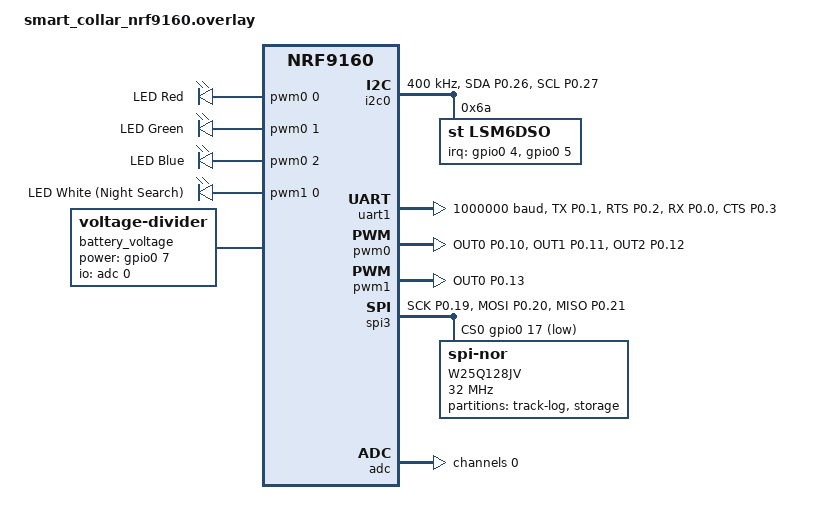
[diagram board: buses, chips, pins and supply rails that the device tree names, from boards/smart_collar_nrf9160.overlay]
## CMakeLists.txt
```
# Copyright (c) 2024 Smart Pet Collar Tracker
# SPDX-License-Identifier: Apache-2.0

cmake_minimum_required(VERSION 3.20.0)

find_package(Zephyr REQUIRED HINTS $ENV{ZEPHYR_BASE})
project(smart_collar_nrf9160)

# Common include directory (shared with nRF52840 firmware)
set(COMMON_DIR ${CMAKE_CURRENT_SOURCE_DIR}/../common)

target_include_directories(app PRIVATE
    ${COMMON_DIR}/include
    src
)

# Common sources
target_sources(app PRIVATE
    ${COMMON_DIR}/src/protocol.c
    ${COMMON_DIR}/src/pet_data.c
)

# Application sources
target_sources(app PRIVATE
    src/main.c
    src/gps/gps_controller.c
    src/gps/offline_track.c
    src/lte/lte_manager.c
    src/cloud/cloud_connector.c
    src/cloud/codec.c
    src/sensors/lsm6dso_driver.c
    src/sensors/activity_classifier.c
    src/geofence/geofence_engine.c
    src/power/power_manager.c
    src/led/led_controller.c
    src/uart_bridge/uart_bridge.c
)
```

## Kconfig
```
# Copyright (c) 2024 Smart Pet Collar Tracker
# SPDX-License-Identifier: Apache-2.0

mainmenu "Smart Pet Collar nRF9160 Configuration"

config SMART_COLLAR_GPS_ENABLE
	bool "Enable GPS/GNSS subsystem"
	default y
	help
	  Enable the nRF9160 modem GNSS interface for GPS fix acquisition
	  and A-GPS data injection.

config SMART_COLLAR_LTE_ENABLE
	bool "Enable LTE connectivity"
	default y
	help
	  Enable LTE-M / NB-IoT modem for cloud connectivity. Supports
	  LTE-M as primary RAT with NB-IoT fallback.

config SMART_COLLAR_CLOUD_ENABLE
	bool "Enable cloud connector (MQTT/TLS)"
	default y
	depends on SMART_COLLAR_LTE_ENABLE
	help
	  Enable MQTT over TLS1.3 connection to AWS IoT Core for telemetry
	  upload and command reception.

config SMART_COLLAR_GEOFENCE_ENABLE
	bool "Enable geofence engine"
	default y
	help
	  Enable the on-device geofence engine supporting circular and polygon
	  zones with NVS-backed persistence.

config SMART_COLLAR_LED_ENABLE
	bool "Enable LED controller"
	default y
	help
	  Enable PWM-based RGB and white LED control with pattern animations.

config SMART_COLLAR_POWER_MGMT
	bool "Enable power management state machine"
	default y
	help
	  Enable the power manager that coordinates GPS/LTE intervals, sensor
	  ODR, and deep-sleep transitions based on activity and battery state.

config SMART_COLLAR_LSM6DSO_ENABLE
	bool "Enable LSM6DSO IMU driver"
	default y
	help
	  Enable the custom I2C driver for the STMicroelectronics LSM6DSO
	  6-axis IMU, including wake-on-motion and activity interrupts.

config SMART_COLLAR_ACTIVITY_CLASSIFIER
	bool "Enable activity classifier"
	default y
	depends on SMART_COLLAR_LSM6DSO_ENABLE
	help
	  Enable the on-device decision-tree activity classifier that processes
	  accelerometer windows to detect rest, walk, run, play, and swim.

source "Kconfig.zephyr"
```

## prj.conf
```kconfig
# Copyright (c) 2024 Smart Pet Collar Tracker
# SPDX-License-Identifier: Apache-2.0
#
# nRF9160 Smart Pet Collar - Project Configuration

# ── Modem / LTE ────────────────────────────────────────────────────────────
CONFIG_NRF_MODEM_LIB=y
CONFIG_LTE_LINK_CONTROL=y
CONFIG_MODEM_INFO=y
CONFIG_MODEM_INFO_ADD_NETWORK=y
CONFIG_MODEM_INFO_ADD_SIM=y
CONFIG_PDN=y
CONFIG_PDN_DEFAULTS_OVERRIDE=n

# ── MQTT / Cloud ────────────────────────────────────────────────────────────
CONFIG_MQTT_LIB=y
CONFIG_MQTT_LIB_TLS=y
CONFIG_MQTT_KEEPALIVE=60

# ── Networking ──────────────────────────────────────────────────────────────
CONFIG_NETWORKING=y
CONFIG_NET_NATIVE=n
CONFIG_NET_OFFLOAD=y
CONFIG_NET_SOCKETS=y
CONFIG_NET_SOCKETS_OFFLOAD=y
CONFIG_NET_IPV4=y
CONFIG_NET_IPV6=n

# ── TLS / Security ──────────────────────────────────────────────────────────
CONFIG_NET_SOCKETS_SOCKOPT_TLS=y
CONFIG_TLS_CREDENTIALS=y
CONFIG_MBEDTLS=y
CONFIG_MBEDTLS_TLS_VERSION_1_3=y

# ── GNSS ────────────────────────────────────────────────────────────────────
CONFIG_NRF_MODEM_LIB=y

# ── I2C / SPI / GPIO / UART ─────────────────────────────────────────────────
CONFIG_I2C=y
CONFIG_SPI=y
CONFIG_GPIO=y
CONFIG_UART_ASYNC_API=y
CONFIG_UART_INTERRUPT_DRIVEN=y
CONFIG_SERIAL=y

# ── PWM / LED ────────────────────────────────────────────────────────────────
CONFIG_PWM=y
CONFIG_LED=y

# ── Flash ────────────────────────────────────────────────────────────────────
CONFIG_FLASH=y
CONFIG_FLASH_MAP=y
CONFIG_FLASH_PAGE_LAYOUT=y
CONFIG_STREAM_FLASH=y
CONFIG_NVS=y
CONFIG_NVS_LOG_LEVEL_WRN=y
CONFIG_MPU_ALLOW_FLASH_WRITE=y

# ── JSON ─────────────────────────────────────────────────────────────────────
CONFIG_JSON_LIBRARY=y

# ── Logging ──────────────────────────────────────────────────────────────────
CONFIG_LOG=y
CONFIG_LOG_DEFAULT_LEVEL=3
CONFIG_LOG_BUFFER_SIZE=4096
CONFIG_LOG_PRINTK=y
CONFIG_LOG_BACKEND_UART=y
CONFIG_LOG_MODE_DEFERRED=y

# ── Kernel / Threading ───────────────────────────────────────────────────────
CONFIG_MAIN_STACK_SIZE=4096
CONFIG_SYSTEM_WORKQUEUE_STACK_SIZE=2048
CONFIG_HEAP_MEM_POOL_SIZE=65536
CONFIG_CBPRINTF_FP_SUPPORT=y
CONFIG_FPU=y
CONFIG_FPU_SHARING=y

# ── C library ────────────────────────────────────────────────────────────────
CONFIG_NEWLIB_LIBC=y
CONFIG_NEWLIB_LIBC_FLOAT_PRINTF=y

# ── System ───────────────────────────────────────────────────────────────────
CONFIG_REBOOT=y
CONFIG_WATCHDOG=y
CONFIG_TASK_WDT=y
CONFIG_TASK_WDT_TIMEOUT_COEFFICIENT=2
CONFIG_RESET_ON_FATAL_ERROR=y
CONFIG_HW_ID_LIBRARY=y

# ── ADC ──────────────────────────────────────────────────────────────────────
CONFIG_ADC=y
CONFIG_ADC_ASYNC=y

# ── Application Kconfig options ──────────────────────────────────────────────
CONFIG_SMART_COLLAR_GPS_ENABLE=y
CONFIG_SMART_COLLAR_LTE_ENABLE=y
CONFIG_SMART_COLLAR_CLOUD_ENABLE=y
CONFIG_SMART_COLLAR_GEOFENCE_ENABLE=y
CONFIG_SMART_COLLAR_LED_ENABLE=y
CONFIG_SMART_COLLAR_POWER_MGMT=y
CONFIG_SMART_COLLAR_LSM6DSO_ENABLE=y
CONFIG_SMART_COLLAR_ACTIVITY_CLASSIFIER=y
```

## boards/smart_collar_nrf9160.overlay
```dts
/*
 * Copyright (c) 2024 Smart Pet Collar Tracker
 * SPDX-License-Identifier: Apache-2.0
 *
 * Device tree overlay for the Smart Pet Collar nRF9160 custom board.
 */

/ {
	chosen {
		zephyr,console = &uart0;
		zephyr,shell-uart = &uart0;
		zephyr,sram = &sram0;
		zephyr,flash = &flash0;
	};

	/* RGB + White LED nodes driven by PWM */
	leds {
		compatible = "pwm-leds";

		led_red: led_red {
			pwms = <&pwm0 0 PWM_MSEC(20) PWM_POLARITY_NORMAL>;
			label = "LED Red";
		};

		led_green: led_green {
			pwms = <&pwm0 1 PWM_MSEC(20) PWM_POLARITY_NORMAL>;
			label = "LED Green";
		};

		led_blue: led_blue {
			pwms = <&pwm0 2 PWM_MSEC(20) PWM_POLARITY_NORMAL>;
			label = "LED Blue";
		};

		led_white: led_white {
			pwms = <&pwm1 0 PWM_MSEC(20) PWM_POLARITY_NORMAL>;
			label = "LED White (Night Search)";
		};
	};

	/* Battery voltage divider on ADC */
	battery_voltage: battery-voltage {
		compatible = "voltage-divider";
		io-channels = <&adc 0>;
		output-ohms = <1000000>;
		full-ohms = <2000000>;
		power-gpios = <&gpio0 7 GPIO_ACTIVE_HIGH>;
	};
};

/* ── I2C0: LSM6DSO IMU ──────────────────────────────────────────────────── */
&i2c0 {
	compatible = "nordic,nrf-twim";
	status = "okay";
	pinctrl-0 = <&i2c0_default>;
	pinctrl-names = "default";
	clock-frequency = <I2C_BITRATE_FAST>;

	lsm6dso: lsm6dso@6a {
		compatible = "st,lsm6dso";
		reg = <0x6a>;
		irq-gpios = <&gpio0 4 GPIO_ACTIVE_HIGH>,  /* INT1: wake-on-motion */
		            <&gpio0 5 GPIO_ACTIVE_HIGH>;   /* INT2: activity       */
		label = "LSM6DSO";
	};
};

/* ── UART1: Bridge to nRF52840 at 1 Mbps ───────────────────────────────── */
&uart1 {
	compatible = "nordic,nrf-uarte";
	status = "okay";
	pinctrl-0 = <&uart1_default>;
	pinctrl-names = "default";
	current-speed = <1000000>;
	hw-flow-control;
};

/* ── PWM0: RGB LED ──────────────────────────────────────────────────────── */
&pwm0 {
	status = "okay";
	pinctrl-0 = <&pwm0_default>;
	pinctrl-names = "default";
};

/* ── PWM1: White high-brightness LED ───────────────────────────────────── */
&pwm1 {
	status = "okay";
	pinctrl-0 = <&pwm1_default>;
	pinctrl-names = "default";
};

/* ── SPI3: W25Q128 NOR flash ────────────────────────────────────────────── */
&spi3 {
	compatible = "nordic,nrf-spim";
	status = "okay";
	pinctrl-0 = <&spi3_default>;
	pinctrl-names = "default";
	cs-gpios = <&gpio0 17 GPIO_ACTIVE_LOW>;

	w25q128: w25q128jv@0 {
		compatible = "jedec,spi-nor";
		reg = <0>;
		spi-max-frequency = <32000000>;
		size = <DT_SIZE_M(128)>;
		has-dpd;
		t-enter-dpd = <3000>;
		t-exit-dpd = <30000>;
		jedec-id = [ef 40 18];
		label = "W25Q128JV";

		partitions {
			compatible = "fixed-partitions";
			#address-cells = <1>;
			#size-cells = <1>;

			/* Offline GPS track log: 512 kB */
			track_partition: partition@0 {
				label = "track-log";
				reg = <0x00000000 DT_SIZE_K(512)>;
			};

			/* Reserved for future use / OTA staging */
			storage_partition: partition@80000 {
				label = "storage";
				reg = <0x00080000 0x00F80000>;
			};
		};
	};
};

/* ── ADC: battery measurement ───────────────────────────────────────────── */
&adc {
	status = "okay";
	#address-cells = <1>;
	#size-cells = <0>;

	channel@0 {
		reg = <0>;
		zephyr,gain = "ADC_GAIN_1_6";
		zephyr,reference = "ADC_REF_INTERNAL";
		zephyr,acquisition-time = <ADC_ACQ_TIME_DEFAULT>;
		zephyr,input-positive = <NRF_SAADC_AIN1>;
		zephyr,resolution = <12>;
		zephyr,oversampling = <8>;
	};
};

/* ── Pin control ────────────────────────────────────────────────────────── */
&pinctrl {
	i2c0_default: i2c0_default {
		group1 {
			psels = <NRF_PSEL(TWIM_SDA, 0, 26)>,
			        <NRF_PSEL(TWIM_SCL, 0, 27)>;
		};
	};

	uart1_default: uart1_default {
		group1 {
			psels = <NRF_PSEL(UART_TX,  0, 1)>,
			        <NRF_PSEL(UART_RTS, 0, 2)>;
		};
		group2 {
			psels = <NRF_PSEL(UART_RX,  0, 0)>,
			        <NRF_PSEL(UART_CTS, 0, 3)>;
			bias-pull-up;
		};
	};

	pwm0_default: pwm0_default {
		group1 {
			psels = <NRF_PSEL(PWM_OUT0, 0, 10)>,  /* Red   */
			        <NRF_PSEL(PWM_OUT1, 0, 11)>,  /* Green */
			        <NRF_PSEL(PWM_OUT2, 0, 12)>;  /* Blue  */
		};
	};

	pwm1_default: pwm1_default {
		group1 {
			psels = <NRF_PSEL(PWM_OUT0, 0, 13)>;  /* White */
		};
	};

	spi3_default: spi3_default {
		group1 {
			psels = <NRF_PSEL(SPIM_SCK,  0, 19)>,
			        <NRF_PSEL(SPIM_MOSI, 0, 20)>;
		};
		group2 {
			psels = <NRF_PSEL(SPIM_MISO, 0, 21)>;
			bias-pull-down;
		};
	};
};
```

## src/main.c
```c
/*
 * Copyright (c) 2024 Smart Pet Collar Tracker
 * SPDX-License-Identifier: Apache-2.0
 *
 * nRF9160 application main entry point.
 * Initialises all subsystems in dependency order, then runs the main
 * supervisory loop driven by a k_timer.
 */

#include <zephyr/kernel.h>
#include <zephyr/logging/log.h>
#include <zephyr/sys/reboot.h>
#include <zephyr/task_wdt/task_wdt.h>

#include "led/led_controller.h"
#include "uart_bridge/uart_bridge.h"
#include "sensors/lsm6dso_driver.h"
#include "sensors/activity_classifier.h"
#include "power/power_manager.h"
#include "lte/lte_manager.h"
#include "gps/gps_controller.h"
#include "gps/offline_track.h"
#include "cloud/cloud_connector.h"
#include "cloud/codec.h"
#include "geofence/geofence_engine.h"

LOG_MODULE_REGISTER(main, LOG_LEVEL_INF);

/* ── Supervisory loop period ─────────────────────────────────────────────── */
#define MAIN_LOOP_PERIOD_MS  1000

/* ── Task watchdog channel ───────────────────────────────────────────────── */
static int wdt_channel_id;

/* ── GPS fix callback – publishes telemetry via cloud connector ───────────── */
static void on_gps_fix(const struct pet_location *loc)
{
	char buf[MQTT_PAYLOAD_MAX_SIZE];
	int  len;
	int  rsrp, rsrq;
	struct activity_summary act_sum;
	battery_status_t bat;

	activity_get_summary(&act_sum);
	bat.percent    = power_get_battery_percent();
	bat.millivolts = power_get_battery_mv();
	bat.is_charging = false;

	lte_get_signal_quality(&rsrp, &rsrq);

	len = codec_encode_telemetry(buf, sizeof(buf), loc,
				     &act_sum, &bat, rsrp, rsrq);
	if (len < 0) {
		LOG_ERR("Telemetry encode failed: %d", len);
		return;
	}

	geofence_check_position((double)loc->latitude_udeg  / 1e6,
				(double)loc->longitude_udeg / 1e6);

	if (lte_is_connected()) {
		cloud_publish_telemetry(buf, (size_t)len);
	} else {
		/* Store for offline sync */
		flash_track_record_t rec = {
			.latitude_udeg  = loc->latitude_udeg,
			.longitude_udeg = loc->longitude_udeg,
			.altitude_m     = (int16_t)(loc->altitude_mm / 1000),
			.timestamp_s    = loc->timestamp_s,
			.speed_kmh      = (uint8_t)(loc->speed_mmps * 36 / 10000),
			.heading_deg_div2 = (uint8_t)(loc->heading_cdeg / 200),
			.flags          = TRACK_FLAG_GPS_VALID,
			.activity_type  = (uint8_t)act_sum.dominant_activity,
		};
		offline_track_store(&rec);
	}
}

/* ── Geofence alert callback ─────────────────────────────────────────────── */
static void on_geofence_alert(const geofence_alert_t *alert)
{
	char buf[512];
	int  len;

	LOG_WRN("Geofence %s: fence_id=%u",
		alert->breach_type == BREACH_EXIT ? "EXIT" : "ENTER",
		alert->fence_id);

	len = codec_encode_alert(buf, sizeof(buf), ALERT_TYPE_GEOFENCE, alert);
	if (len < 0) {
		LOG_ERR("Alert encode failed: %d", len);
		return;
	}

	if (lte_is_connected()) {
		cloud_publish_alert(buf, (size_t)len);
	}

	led_set_pattern(LED_BLINK);
}

/* ── Cloud command callback ──────────────────────────────────────────────── */
static void on_cloud_command(const char *topic, const char *payload, size_t len)
{
	struct collar_command cmd;
	int ret;

	ret = codec_decode_command(payload, len, &cmd);
	if (ret < 0) {
		LOG_ERR("Command decode failed: %d", ret);
		return;
	}

	LOG_INF("Cloud command received: type=%d", cmd.type);

	switch (cmd.type) {
	case CMD_TYPE_SET_POWER_MODE:
		power_set_mode((power_mode_t)cmd.param.power_mode);
		break;
	case CMD_TYPE_FIND_PET:
		led_night_search_mode(true);
		uart_bridge_send(CMD_FIND_PET, NULL, 0);
		break;
	case CMD_TYPE_LED_PATTERN:
		led_set_pattern((led_pattern_t)cmd.param.led_pattern);
		break;
	case CMD_TYPE_ADD_GEOFENCE:
		geofence_add_circle(cmd.param.geofence.id,
				    cmd.param.geofence.lat,
				    cmd.param.geofence.lon,
				    cmd.param.geofence.radius_m);
		break;
	case CMD_TYPE_REMOVE_GEOFENCE:
		geofence_remove(cmd.param.geofence.id);
		break;
	case CMD_TYPE_SYNC_OFFLINE:
		/* Trigger offline track upload */
		while (offline_track_has_data()) {
			flash_track_record_t rec;
			if (offline_track_read_next(&rec) == 0) {
				/* Pack as mini JSON and publish */
				char tbuf[256];
				int tlen = snprintf(tbuf, sizeof(tbuf),
					"{\"ts\":%u,\"lat\":%d,\"lon\":%d,"
					"\"spd\":%u,\"act\":%u,\"offline\":true}",
					rec.timestamp_s,
					rec.latitude_udeg,
					rec.longitude_udeg,
					(unsigned)rec.speed_kmh,
					(unsigned)rec.activity_type);
				if (tlen > 0) {
					cloud_publish_telemetry(tbuf, (size_t)tlen);
				}
			}
		}
		break;
	default:
		LOG_WRN("Unknown command type: %d", cmd.type);
		break;
	}
}

/* ── LTE event callback ──────────────────────────────────────────────────── */
static void on_lte_event(enum lte_event event)
{
	switch (event) {
	case LTE_EVENT_CONNECTED:
		LOG_INF("LTE connected – connecting to cloud");
		cloud_connector_connect();
		cloud_subscribe_commands();
		break;
	case LTE_EVENT_DISCONNECTED:
		LOG_WRN("LTE disconnected");
		cloud_connector_disconnect();
		break;
	case LTE_EVENT_PSM_UPDATE:
		LOG_DBG("LTE PSM parameters updated");
		break;
	case LTE_EVENT_EDRX_UPDATE:
		LOG_DBG("LTE eDRX parameters updated");
		break;
	default:
		break;
	}
}

/* ── Battery low callback ────────────────────────────────────────────────── */
static void on_battery_low(uint8_t percent)
{
	LOG_WRN("Battery low: %u%%", percent);
	if (percent <= BATTERY_CRITICAL_THRESHOLD_PCT) {
		LOG_ERR("Critical battery – entering deep sleep");
		power_set_mode(PWR_DEEP_SLEEP);
	} else if (percent <= BATTERY_LOW_THRESHOLD_PCT) {
		power_set_mode(PWR_LOW_POWER);
		led_set_pattern(LED_BLINK);
	}
}

/* ── UART bridge callbacks for incoming nRF52840 data ───────────────────── */
static void on_uart_activity_data(const uint8_t *payload, uint16_t len)
{
	pet_activity_data_t act;

	if (pet_activity_deserialise(&act, payload) != 0) {
		LOG_ERR("Activity deserialise failed");
		return;
	}
	LOG_DBG("Activity: type=%d steps=%u", act.activity_type, act.steps);
}

static void on_uart_health_data(const uint8_t *payload, uint16_t len)
{
	pet_health_data_t health;

	if (pet_health_deserialise(&health, payload) != 0) {
		LOG_ERR("Health deserialise failed");
		return;
	}
	LOG_DBG("Health: temp=%d bpm=%u flags=0x%02X",
		health.temperature_cdegC, health.heart_rate_bpm,
		health.anomaly_flags);
}

/* ── Main entry point ────────────────────────────────────────────────────── */
int main(void)
{
	int ret;

	LOG_INF("Smart Pet Collar nRF9160 v%u.%u.%u starting",
		FW_VERSION_MAJOR, FW_VERSION_MINOR, FW_VERSION_PATCH);

	/* 1. LED controller – gives early visual feedback */
	ret = led_controller_init();
	if (ret < 0) {
		LOG_ERR("LED init failed: %d", ret);
	} else {
		led_set_pattern(LED_BLINK);
	}

	/* 2. UART bridge – needed before any nRF52840 comms */
	ret = uart_bridge_init();
	if (ret < 0) {
		LOG_ERR("UART bridge init failed: %d", ret);
	}
	uart_bridge_register_callback(CMD_ACTIVITY_DATA, on_uart_activity_data);
	uart_bridge_register_callback(CMD_HEALTH_DATA,   on_uart_health_data);

	/* 3. LSM6DSO IMU */
	ret = lsm6dso_init();
	if (ret < 0) {
		LOG_ERR("LSM6DSO init failed: %d", ret);
	} else {
		lsm6dso_configure_accel(LSM6DSO_ODR_26HZ, LSM6DSO_FS_4G);
		lsm6dso_configure_wakeup(LSM6DSO_ACTIVITY_THRESHOLD_MG);
	}

	/* 4. Activity classifier */
	ret = activity_classifier_init();
	if (ret < 0) {
		LOG_ERR("Activity classifier init failed: %d", ret);
	}

	/* 5. Power manager */
	ret = power_manager_init();
	if (ret < 0) {
		LOG_ERR("Power manager init failed: %d", ret);
	}
	power_register_battery_callback(on_battery_low);

	/* 6. Offline track storage */
	ret = offline_track_init();
	if (ret < 0) {
		LOG_ERR("Offline track init failed: %d", ret);
	}

	/* 7. Geofence engine */
	ret = geofence_engine_init();
	if (ret < 0) {
		LOG_ERR("Geofence engine init failed: %d", ret);
	}
	geofence_register_alert_callback(on_geofence_alert);

	/* 8. LTE manager */
	ret = lte_manager_init();
	if (ret < 0) {
		LOG_ERR("LTE manager init failed: %d", ret);
	}
	lte_register_event_callback(on_lte_event);

	/* 9. GPS controller */
	ret = gps_controller_init();
	if (ret < 0) {
		LOG_ERR("GPS controller init failed: %d", ret);
	}
	gps_register_fix_callback(on_gps_fix);

	/* 10. Cloud connector */
	ret = cloud_connector_init();
	if (ret < 0) {
		LOG_ERR("Cloud connector init failed: %d", ret);
	}
	cloud_register_command_callback(on_cloud_command);

	/* 11. Start LTE (async – event callback drives cloud connection) */
	ret = lte_manager_connect();
	if (ret < 0) {
		LOG_ERR("LTE connect failed: %d – operating offline", ret);
	}

	/* 12. Start GPS */
	ret = gps_controller_start();
	if (ret < 0) {
		LOG_ERR("GPS start failed: %d", ret);
	}

	/* 13. Task watchdog */
	wdt_channel_id = task_wdt_add(WATCHDOG_TIMEOUT_MS, NULL, NULL);
	if (wdt_channel_id < 0) {
		LOG_ERR("Task WDT add failed: %d", wdt_channel_id);
	}

	led_set_pattern(LED_SOLID);
	LOG_INF("Initialisation complete – entering main loop");

	/* Main supervisory loop */
	while (true) {
		task_wdt_feed(wdt_channel_id);
		k_sleep(K_MSEC(MAIN_LOOP_PERIOD_MS));
	}

	/* Unreachable */
	return 0;
}
```
